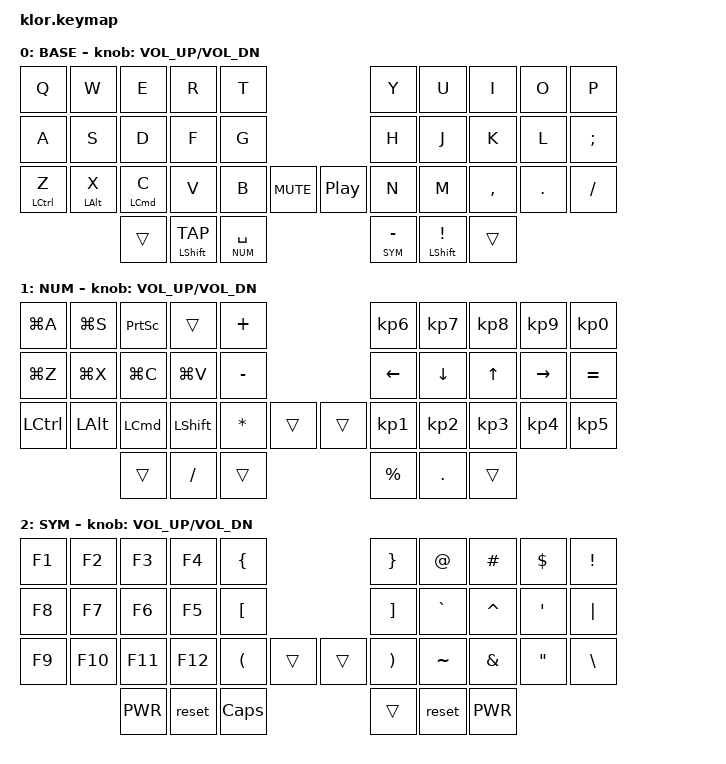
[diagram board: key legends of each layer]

//                               █         █    █            ▄▄▄▀▀▀▀▀▀▄▄▄        █▀▀▀▀▀▀▀▀▀▀█
//                               █        █     █          ▄▀            ▀▄      █          █
//                               █       █      █        ▄▀                ▀▄    █          █
//                               █      █       █        █                  █    █          █
//                               █     █        █       █                    █   █          █
//                               █    █         █       █                    █   █▄▄▄▄▄▄▄▄▄▄█
//                               █   █ █        █       █                    █   █      █
//                               █  █   █       █        █                  █    █       █
//                               █ █     █      █        ▀▄                ▄▀    █        █
//                               ██       █     █          ▀▄            ▄▀      █         █
//                               █         █    █▄▄▄▄▄▄▄▄    ▀▀▀▄▄▄▄▄▄▀▀▀        █          █
//
// ▄▄▄▄▄▄▄▄▄▄▄▄▄▄▄▄▄▄▄▄▄▄▄▄▄▄▄▄▄▄▄▄▄▄▄▄▄▄▄▄▄▄▄▄▄▄▄▄▄▄▄▄▄▄▄▄▄▄▄▄▄▄▄▄▄▄▄▄▄▄▄▄▄▄▄▄▄▄▄▄▄▄▄▄▄▄▄▄▄▄▄▄▄▄▄▄▄▄▄▄▄▄▄▄▄▄▄▄▄▄▄▄▄▄▄▄▄▄▄▄▄▄▄▄▄
       
#include <behaviors.dtsi>
#include <dt-bindings/zmk/keys.h>
#include <dt-bindings/zmk/bt.h>
#include <dt-bindings/zmk/outputs.h>
#include <dt-bindings/zmk/ext_power.h>
#include <dt-bindings/zmk/rgb.h>

//aaad
#define BASE   0
#define NUM    1
#define SYM    2
//#define ADJUST 3


/ {
    behaviors {
        hm: homerow_mods {
            compatible = "zmk,behavior-hold-tap";
            label = "HOMEROW_MODS";
            #binding-cells = <2>;
            tapping-term-ms = <200>;
            quick_tap_ms = <0>;
            flavor = "tap-preferred";
            bindings = <&kp>, <&kp>;
        };

    };

     combos {
            compatible = "zmk,combos";
     //layers 0
            combo_esc0 {
                timeout-ms = <50>;
                key-positions = <W E>;
                bindings = <&kp ESC>;
                layers = 0;
            };
            combo_tab0{
                timeout-ms = <50>;
                key-positions = <S D>;
                bindings = <&kp TAB>;
                layers = 0;
             };
       //BS_ENT
            combo_bsp0{
                timeout-ms = <50>;
                key-positions = <J K>;
                bindings = <&kp BSPC>;
                layers = 0;
            };
            combo_ent0{
                timeout-ms = <50>;
                key-positions = <K L>;
                bindings = <&kp ENTER>;
                layers = 0;
            };
         //Page UP_DN
             combo_pageup0{
                timeout-ms = <50>;
                key-positions = <Y U>;
                bindings = <&kp PG_UP>;
                layers = 0;
            };
            combo_pagedown0{
                timeout-ms = <50>;
                key-positions = <N M>;
                bindings = <&kp PG_DN>;
                layers = 0;
            };
            
      //layers 1
         //BS_ENT
            combo_bsp1{
                timeout-ms = <50>;
                key-positions = <DOWN UP>;
                bindings = <&kp BSPC>;
                layers = 0;
            };
            combo_ent1{
                timeout-ms = <50>;
                key-positions = <UP RIGHT>;
                bindings = <&kp ENTER>;
                layers = 0;
            };
          //VOLUME_UP_DOWN - BRI_UP_DN
            combo_volup1{
                timeout-ms = <50>;
                key-positions = <KP_N6 KP_N7>;
                bindings = <&kp C_VOL_UP>;
                layers = 0;
            };
            combo_voldn1{
                timeout-ms = <50>;
                key-positions = <KP_N1 KP_N2>;
                bindings = <&kp C_VOL_DN>;
                layers = 0;
            };
           //BRI_UP_DN
            combo_briup1{
                timeout-ms = <50>;
                key-positions = <LG(V) MINUS>;
                bindings = <&kp C_BRI_UP>;
                layers = 0;
            };
            combo_bridn1{
                timeout-ms = <50>;
                key-positions = <LEFT DOWN>;
                bindings = <&kp C_BRI_DN>;
                layers = 0;
            };
            
      //layers 2
          //BS_ENT
            combo_bsp2{
                timeout-ms = <50>;
                key-positions = <GRAVE CARET>;
                bindings = <&kp BSPC>;
                layers = 0;
            };
            combo_ent2{
                timeout-ms = <50>;
                key-positions = <CARET SQT>;
                bindings = <&kp ENTER>;
                layers = 0;
            };
    };
    
/* KEYCODE
&ext_power
hiện màn hình chính và hiện app
C_AC_DESKTOP_SHOW_ALL_WINDOWS
C_AC_DESKTOP_SHOW_ALL_APPLICATIONS

tăng giảm độ sáng
C_BRI_UP
C_BRI_DN
tăng giảm âm lượng
C_VOL_UP
C_VOL_DN

p up/ p down
PG_UP
PG_DN

*/ 


        keymap {
                compatible = "zmk,keymap";
// ▄▄▄▄▄▄▄▄▄▄▄▄▄▄▄▄▄▄▄▄▄▄▄▄▄▄▄▄▄▄▄▄▄▄▄▄▄▄▄▄▄▄▄▄▄▄▄▄▄▄▄▄▄▄▄▄▄▄▄▄▄▄▄▄▄▄▄▄▄▄▄▄▄▄▄▄▄▄▄▄▄▄▄▄▄▄▄▄▄▄▄▄▄▄▄▄▄▄▄▄▄▄▄▄▄▄▄▄▄▄▄▄▄▄▄▄▄▄▄▄▄▄▄▄▄▄▄▄▄▄▄▄▄▄▄▄▄▄▄▄▄▄


                base_layer {
// ┌───────────────────────────────────────────────────────────┐
label= "BASE"                                                  ;
// └───────────────────────────────────────────────────────────┘
/*
             ┌─────────┬─────────┬─────────┬─────────┬─────────┐                    ┌─────────┬─────────┬─────────┬─────────┬─────────┐
             │    Q    │    W  {ESC}  E    │    R    │    T    │ ╭╮╭╮╭╮╭╮╭╮╭╮╭╮╭╮╭╮ │    Y  {SCU}  U    │    I    │    O    │    P    │
             ├─────────┼─────────┼─────────┼─────────┼─────────┤ │╰╯╰╯╰╯╰╯╰╯╰╯╰╯╰╯│ ├─────────┼─────────┼─────────┼─────────┼─────────┤
             │    A    │    S    │    D    │    F  {SCL}  G    ├─╯                ╰─┤    H  {SCR}  J  {BSP}  K  {ENT}  L    │    ;    │
             ├─────────┼─────────┼─────────┼─────────┼─────────┤╭────────╮╭────────╮├─────────┼─────────┼─────────┼─────────┼─────────┤
             │ (CTL)Z  │ (ALT)X  │ (CMD)C  │    V    │    B    ││  MUTE  ││PLY/PSE ││    N  {SCD}  M    │    ,    │    .    │    /    │
             └─────────┴─────────┼─────────┼─────────┼─────────┤╰────────╯╰────────╯┼─────────┼─────────┼─────────┼─────────┴─────────┘
                                 │         │ SFT*TAB │ NUM*SPC │                    │ SYM * - │ SFT * ! │         │
                                 └─────────┴─────────┴─────────┘                    └─────────┴─────────┴─────────┘ */ 
 bindings = <
 //╷           ╷           ╷           ╷           ╷           ╷           ╷╷           ╷           ╷           ╷           ╷           ╷           ╷
    &kp Q       &kp W       &kp E       &kp R       &kp T                                &kp Y       &kp U       &kp I       &kp O       &kp P 
    &kp A       &kp S       &kp D       &kp F       &kp G                                &kp H       &kp J       &kp K       &kp L       &kp SEMI  
    &mt LCTRL Z &mt LALT X  &mt LCMD C  &kp V       &kp B       &kp K_MUTE   &kp C_PP    &kp N       &kp M       &kp COMMA   &kp DOT     &kp FSLH  
                            &trans  &mt LSHIFT TAP  &lt NUM SPACE                    &lt SYM MINUS   &mt LSHIFT EXCL  &trans
                        >;
            sensor-bindings = <&inc_dec_kp C_VOL_UP C_VOL_DN>;
                };

// ▄▄▄▄▄▄▄▄▄▄▄▄▄▄▄▄▄▄▄▄▄▄▄▄▄▄▄▄▄▄▄▄▄▄▄▄▄▄▄▄▄▄▄▄▄▄▄▄▄▄▄▄▄▄▄▄▄▄▄▄▄▄▄▄▄▄▄▄▄▄▄▄▄▄▄▄▄▄▄▄▄▄▄▄▄▄▄▄▄▄▄▄▄▄▄▄▄▄▄▄▄▄▄▄▄▄▄▄▄▄▄▄▄▄▄▄▄▄▄▄▄▄▄▄▄▄▄▄▄▄▄▄▄▄▄▄▄▄▄▄▄▄


                num_layer {
// ┌───────────────────────────────────────────────────────────┐
label= "NUM"                                                   ;
// └───────────────────────────────────────────────────────────┘
/*          
             ┌─────────┬─────────┬─────────┬─────────┬─────────┐                    ┌─────────┬─────────┬─────────┬─────────┬─────────┐
             │  ALLCOPY│   SAVE  │   SCRSF │  SCRS   │    +    │ ╭╮╭╮╭╮╭╮╭╮╭╮╭╮╭╮╭╮ │    6 {VOLU}  7    │    8    │    9    │    0    │
             ├─────────┼─────────┼─────────┼─────────┼─────────┤ │╰╯╰╯╰╯╰╯╰╯╰╯╰╯╰╯│ ├─────────┼─────────┼─────────┼─────────┼─────────┤
             │  UNDO   │   CUT   │   COPY  │ PASTE {BRU}  -    ├─╯                ╰─┤    ←  {BRD}  ↑  {BSP}  ↓  {ENT}  →    │    =    │
             ├─────────┼─────────┼─────────┼─────────┼─────────┤╭────────╮╭────────╮├─────────┼─────────┼─────────┼─────────┼─────────┤
             │  CTL    │   ALT   │   CMD   │   SFT   │    *    ││  MUTE  ││PLY/PSE ││    1 {VOLD}  2    │    3    │    4    │    5    │
             └─────────┴─────────┼─────────┼─────────┼─────────┤╰────────╯╰────────╯┼─────────┼─────────┼─────────┼─────────┴─────────┘
                                 │         │    /    │    ▼    │                    │    %    │    .    │         │
                                 └─────────┴─────────┴─────────┘                    └───-─────┴─────────┴─────────┘*/

 bindings = <
 //╷           ╷           ╷           ╷           ╷           ╷           ╷╷           ╷           ╷           ╷           ╷           ╷           ╷
    &kp LG(A)   &kp LG(S)   &kp PSCRN   &trans      &kp PLUS                             &kp KP_N6   &kp KP_N7   &kp KP_N8   &kp KP_N9   &kp KP_N0
    &kp LG(Z)   &kp LG(X)   &kp LG(C)   &kp LG(V)   &kp MINUS                            &kp LEFT    &kp DOWN    &kp UP      &kp RIGHT   &kp EQUAL
    &kp LCTRL   &kp LALT    &kp LCMD    &kp LSHFT   &kp STAR    &trans        &trans     &kp KP_N1   &kp KP_N2   &kp KP_N3   &kp KP_N4   &kp KP_N5
                            &trans      &kp SLASH   &trans                               &kp PRCNT   &kp DOT     &trans
                        >;
            sensor-bindings = <&inc_dec_kp C_VOL_UP C_VOL_DN>;
                };

// ▄▄▄▄▄▄▄▄▄▄▄▄▄▄▄▄▄▄▄▄▄▄▄▄▄▄▄▄▄▄▄▄▄▄▄▄▄▄▄▄▄▄▄▄▄▄▄▄▄▄▄▄▄▄▄▄▄▄▄▄▄▄▄▄▄▄▄▄▄▄▄▄▄▄▄▄▄▄▄▄▄▄▄▄▄▄▄▄▄▄▄▄▄▄▄▄▄▄▄▄▄▄▄▄▄▄▄▄▄▄▄▄▄▄▄▄▄▄▄▄▄▄▄▄▄


                sym_layer {
// ┌───────────────────────────────────────────────────────────┐
label= "SYM"                                                   ;
// └───────────────────────────────────────────────────────────┘
/*        
             ┌─────────┬─────────┬─────────┬─────────┬─────────┐                    ┌─────────┬─────────┬─────────┬─────────┬─────────┐
             │   F1    │   F2    │   F3    │   F4    │    {    │ ╭╮╭╮╭╮╭╮╭╮╭╮╭╮╭╮╭╮ │    }    │    @    │    #    │    $    │    !    │
             ├─────────┼─────────┼─────────┼─────────┼─────────┤ │╰╯╰╯╰╯╰╯╰╯╰╯╰╯╰╯│ ├─────────┼─────────┼─────────┼─────────┼─────────┤
             │   F8    │   F7    │   F6    │   F5    │    [    ├─╯                ╰─┤    ]    │    ` {BSP}   ^  {ENT}  '    │    |    │
             ├─────────┼─────────┼─────────┼─────────┼─────────┤╭────────╮╭────────╮├─────────┼─────────┼─────────┼─────────┼─────────┤
             │   F9    │   F10   │   F11   │   F12   │    (    ││  MUTE  ││PLY/PSE ││    )    │    ~    │    &    │    "    │    \    │
             └─────────┴─────────┼─────────┼─────────┼─────────┼╰────────╯╰────────╯┼─────────┼─────────┼─────────┼─────────┴─────────┘
                                 │         │  RESET  │   CAPS  │                    │    ▼    │  RESET  │         │
                                 └─────────┴─────────┴─────────┘                    └─────────┴─────────┴─────────┘ */ 
 bindings = <
 //╷           ╷           ╷           ╷           ╷           ╷           ╷╷          ╷           ╷           ╷           ╷           ╷            ╷
    &kp F1      &kp F2      &kp F3      &kp F4       &kp LBRC                            &kp RBRC    &kp AT      &kp HASH    &kp DLLR    &kp EXCL   
    &kp F8      &kp F7      &kp F6      &kp F5       &kp LBKT                            &kp RBKT    &kp GRAVE   &kp CARET   &kp SQT     &kp PIPE
    &kp F9      &kp F10     &kp F11     &kp F12      &kp LPAR    &trans       &trans     &kp RPAR    &kp TILDE   &kp AMPS    &kp DQT     &kp BSLH    
                            &kp K_PWR   &reset       &kp CAPS                            &trans      &reset      &kp K_PWR
                        >;
                sensor-bindings = <&inc_dec_kp C_VOL_UP C_VOL_DN>;
                };

// ▄▄▄▄▄▄▄▄▄▄▄▄▄▄▄▄▄▄▄▄▄▄▄▄▄▄▄▄▄▄▄▄▄▄▄▄▄▄▄▄▄▄▄▄▄▄▄▄▄▄▄▄▄▄▄▄▄▄▄▄▄▄▄▄▄▄▄▄▄▄▄▄▄▄▄▄▄▄▄▄▄▄▄▄▄▄▄▄▄▄▄▄▄▄▄▄▄▄▄▄▄▄▄▄▄▄▄▄▄▄▄▄▄▄▄▄▄▄▄▄▄▄▄▄▄


/*                adjust_layer {
// ┌───────────────────────────────────────────────────────────┐
label= "ADJUST"                                                ;
// └───────────────────────────────────────────────────────────┘
/*           ┌─────────┬─────────┬─────────┬─────────┬─────────┐                    ┌─────────┬─────────┬─────────┬─────────┬─────────┐
             │         │         │         │         │         │                    │         │         │         │         │         │
   ┌─────────┼─────────┼─────────┼─────────┼─────────┼─────────┤                    ├─────────┼─────────┼─────────┼─────────┼─────────┼─────────┐
   │         │         │         │         │         │         │                    │         │         │         │         │         │         │
   ├─────────┼─────────┼─────────┼─────────┼─────────┼─────────┤╭────────╮╭────────╮├─────────┼─────────┼─────────┼─────────┼─────────┼─────────┤
   │         │         │         │         │         │         ││        ││        ││         │         │         │         │         │         │
   └─────────┴─────────┴─────────┼─────────┼─────────┼─────────┼╰────────╯╰────────╯┼─────────┼─────────┼─────────┼─────────┴─────────┴─────────┘
                                 │         │         │         │         ││         │         │         │         │  
                                 └─────────┴─────────┴─────────┴─────────┘└─────────┴─────────┴─────────┴─────────┘ */ 
 bindings = <
 //╷         ╷         ╷         ╷         ╷         ╷         ╷         ╷╷         ╷         ╷         ╷         ╷         ╷         ╷         ╷
             &bt BT_CLR &trans    &trans    &trans    &trans                         &trans    &trans    &trans    &trans    &bt BT_CLR   
    &trans   &bt BT_NXT &trans    &trans    &trans    &trans                         &trans    &trans    &trans    &bt BT_NXT &trans   &trans 
    &trans   &bt BT_PRV &trans    &trans    &kp KP_N6 &trans    &trans     &trans    &bt BT_PRV &trans   &trans    &trans    &trans    &trans    
                                  &trans    &trans    &trans    &trans     &trans    &trans    &trans    &trans    
                        >;
            sensor-bindings = <&inc_dec_kp C_VOL_UP C_VOL_DN>;
                }; */
        };
};
//
